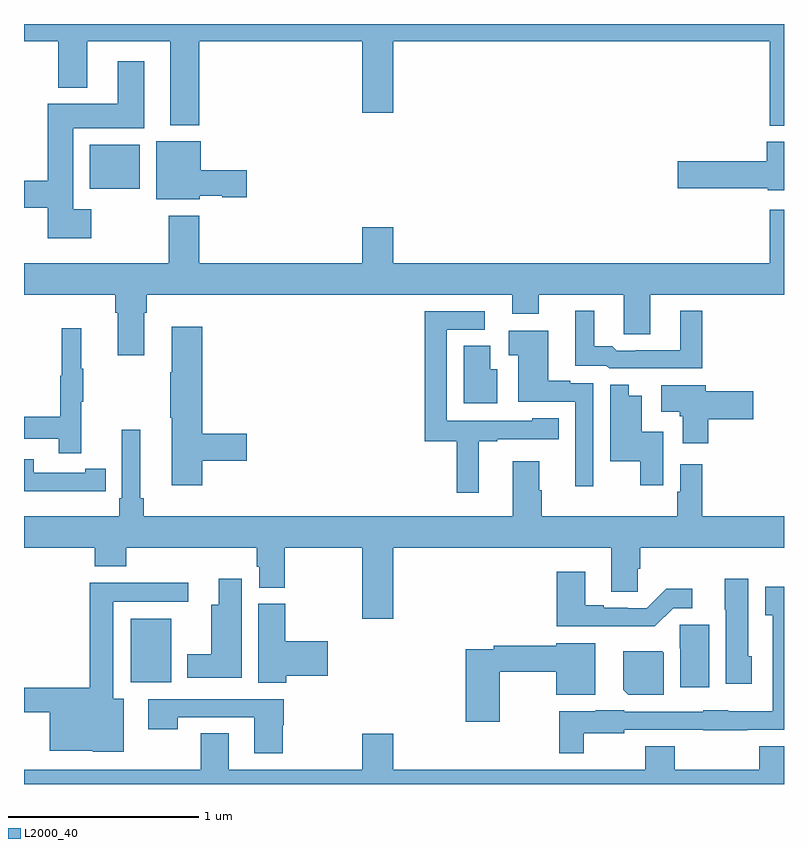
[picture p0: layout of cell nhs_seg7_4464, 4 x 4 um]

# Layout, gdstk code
import gdstk
lib = gdstk.Library(unit=1e-6, precision=1e-09)
def R(c, l, rs):  # rectangles x0, y0, x1, y1
    for r in rs: c.add(gdstk.rectangle(r[:2], r[2:], *l))
def P(c, l, *ps):  # polygons
    for p in ps: c.add(gdstk.Polygon(p, *l))
L2000_40 = (2000, 40)

nhs_seg7_4464 = lib.new_cell('nhs_seg7_4464')
R(nhs_seg7_4464, L2000_40, [(391.562,1038.536,391.774,1038.871), (391.346,1041.134,391.609,1041.364)])
P(nhs_seg7_4464, L2000_40, [(395,1042),(391,1042),(391,1041.908),(391.181,1041.908),(391.181,1041.665),(391.333,1041.665),(391.333,1041.908),(391.769,1041.908),(391.769,1041.467),(391.922,1041.467),(391.922,1041.908),(392.78,1041.908),(392.78,1041.534),(392.944,1041.534),(392.944,1041.908),(394.926,1041.908),(394.926,1041.464),(395,1041.464)],
  [(391.354,1041.025),(391.258,1041.025),(391.258,1041.452),(391.633,1041.452),(391.633,1041.805),(391.493,1041.805),(391.493,1041.58),(391.124,1041.58),(391.124,1041.176),(391,1041.176),(391,1041.034),(391.124,1041.034),(391.124,1040.873),(391.354,1040.873)],
  [(391.926,1041.095),(392.043,1041.095),(392.043,1041.088),(392.173,1041.088),(392.173,1041.23),(391.93,1041.23),(391.93,1041.382),(391.697,1041.382),(391.697,1041.077),(391.926,1041.077)],
  [(395,1041.379),(394.91,1041.379),(394.91,1041.278),(394.44,1041.278),(394.44,1041.136),(394.914,1041.136),(394.914,1041.125),(395,1041.125)],
  [(391.633,1040.48),(391.646,1040.48),(391.646,1040.576),(393.569,1040.576),(393.569,1040.474),(393.709,1040.474),(393.709,1040.576),(394.157,1040.576),(394.157,1040.368),(394.297,1040.368),(394.297,1040.576),(395,1040.576),(395,1041.022),(394.926,1041.022),(394.926,1040.74),(392.944,1040.74),(392.944,1040.929),(392.78,1040.929),(392.78,1040.74),(391.922,1040.74),(391.922,1040.992),(391.762,1040.992),(391.762,1040.74),(391,1040.74),(391,1040.576),(391.481,1040.576),(391.481,1040.48),(391.493,1040.48),(391.493,1040.256),(391.633,1040.256)],
  [(394.571,1040.491),(394.454,1040.491),(394.454,1040.283),(394.219,1040.283),(394.219,1040.28),(394.119,1040.28),(394.097,1040.303),(394,1040.303),(394,1040.491),(393.902,1040.491),(393.902,1040.202),(394.065,1040.202),(394.08,1040.187),(394.571,1040.187)],
  [(393.394,1039.803),(393.49,1039.803),(393.49,1039.815),(393.815,1039.815),(393.815,1039.924),(393.675,1039.924),(393.675,1039.911),(393.225,1039.911),(393.225,1040.391),(393.424,1040.391),(393.424,1040.487),(393.109,1040.487),(393.109,1039.803),(393.277,1039.803),(393.277,1039.533),(393.394,1039.533)],
  [(391.937,1039.702),(392.173,1039.702),(392.173,1039.844),(391.937,1039.844),(391.937,1040.407),(391.778,1040.407),(391.778,1040.168),(391.771,1040.168),(391.771,1039.927),(391.778,1039.927),(391.778,1039.572),(391.937,1039.572)],
  [(391.301,1040.011),(391.312,1040.011),(391.312,1040.185),(391.301,1040.185),(391.301,1040.398),(391.198,1040.398),(391.198,1040.148),(391.191,1040.148),(391.191,1039.934),(391,1039.934),(391,1039.818),(391.183,1039.818),(391.183,1039.74),(391.301,1039.74)],
  [(393.996,1040.109),(393.875,1040.109),(393.875,1040.122),(393.76,1040.122),(393.76,1040.386),(393.552,1040.386),(393.552,1040.257),(393.602,1040.257),(393.602,1040.013),(393.9,1040.013),(393.9,1039.566),(393.996,1039.566)],
  [(393.49,1040.182),(393.454,1040.182),(393.454,1040.306),(393.314,1040.306),(393.314,1040.003),(393.49,1040.003)],
  [(394.365,1039.855),(394.252,1039.855),(394.252,1040.044),(394.183,1040.044),(394.183,1040.102),(394.086,1040.102),(394.086,1039.7),(394.244,1039.7),(394.244,1039.572),(394.365,1039.572)],
  [(394.601,1039.919),(394.837,1039.919),(394.837,1040.066),(394.588,1040.066),(394.588,1040.098),(394.353,1040.098),(394.353,1039.958),(394.452,1039.958),(394.452,1039.935),(394.466,1039.935),(394.466,1039.794),(394.601,1039.794)],
  [(392.944,1039.244),(394.091,1039.244),(394.091,1039.012),(394.23,1039.012),(394.23,1039.134),(394.244,1039.134),(394.244,1039.244),(395,1039.244),(395,1039.408),(394.571,1039.408),(394.571,1039.684),(394.455,1039.684),(394.455,1039.538),(394.439,1039.538),(394.439,1039.408),(393.725,1039.408),(393.725,1039.545),(393.712,1039.545),(393.712,1039.699),(393.572,1039.699),(393.572,1039.408),(391.631,1039.408),(391.631,1039.504),(391.612,1039.504),(391.612,1039.864),(391.515,1039.864),(391.515,1039.504),(391.502,1039.504),(391.502,1039.408),(391,1039.408),(391,1039.244),(391.373,1039.244),(391.373,1039.145),(391.538,1039.145),(391.538,1039.244),(392.225,1039.244),(392.225,1039.143),(392.237,1039.143),(392.237,1039.033),(392.373,1039.033),(392.373,1039.244),(392.78,1039.244),(392.78,1038.87),(392.944,1038.87)],
  [(391.322,1039.542),(391.43,1039.542),(391.43,1039.658),(391.322,1039.658),(391.322,1039.638),(391.05,1039.638),(391.05,1039.71),(391,1039.71),(391,1039.541),(391.322,1039.541)],
  [(394.416,1038.924),(394.516,1038.924),(394.516,1039.027),(394.381,1039.027),(394.278,1038.924),(394.178,1038.924),(394.178,1038.927),(394.051,1038.927),(394.051,1038.94),(393.955,1038.94),(393.955,1039.117),(393.803,1039.117),(393.803,1038.83),(394.321,1038.83)],
  [(394.831,1038.672),(394.813,1038.672),(394.813,1039.081),(394.688,1039.081),(394.688,1038.918),(394.694,1038.918),(394.694,1038.528),(394.831,1038.528)],
  [(392.146,1039.081),(392.024,1039.081),(392.024,1038.943),(391.985,1038.943),(391.985,1038.682),(391.859,1038.682),(391.859,1038.56),(392.146,1038.56)],
  [(391.525,1038.448),(391.471,1038.448),(391.471,1038.96),(391.864,1038.96),(391.864,1039.058),(391.346,1039.058),(391.346,1038.506),(391,1038.506),(391,1038.378),(391.136,1038.378),(391.136,1038.176),(391.362,1038.176),(391.362,1038.17),(391.525,1038.17)],
  [(393.946,1038.266),(394.158,1038.266),(394.158,1038.285),(394.575,1038.285),(394.575,1038.284),(394.807,1038.284),(394.807,1038.285),(395,1038.285),(395,1039.039),(394.901,1039.039),(394.901,1038.887),(394.941,1038.887),(394.941,1038.382),(394.707,1038.382),(394.707,1038.388),(394.575,1038.388),(394.575,1038.381),(394.158,1038.381),(394.158,1038.388),(394.008,1038.388),(394.008,1038.382),(393.817,1038.382),(393.817,1038.161),(393.946,1038.161)],
  [(392.381,1038.569),(392.599,1038.569),(392.599,1038.752),(392.376,1038.752),(392.376,1038.948),(392.234,1038.948),(392.234,1038.532),(392.381,1038.532)],
  [(394.606,1038.837),(394.45,1038.837),(394.45,1038.714),(394.454,1038.714),(394.454,1038.51),(394.606,1038.51)],
  [(393.504,1038.592),(393.8,1038.592),(393.8,1038.47),(394.006,1038.47),(394.006,1038.742),(393.8,1038.742),(393.8,1038.728),(393.472,1038.728),(393.472,1038.708),(393.326,1038.708),(393.326,1038.327),(393.504,1038.327)],
  [(394.366,1038.692),(394.358,1038.7),(394.154,1038.7),(394.154,1038.496),(394.18,1038.47),(394.366,1038.47)],
  [(392.361,1038.309),(392.366,1038.309),(392.366,1038.447),(391.653,1038.447),(391.653,1038.288),(391.809,1038.288),(391.809,1038.351),(392.213,1038.351),(392.213,1038.162),(392.361,1038.162)],
  [(395,1038.2),(394.87,1038.2),(394.87,1038.076),(394.425,1038.076),(394.425,1038.2),(394.27,1038.2),(394.27,1038.076),(392.944,1038.076),(392.944,1038.265),(392.78,1038.265),(392.78,1038.076),(392.077,1038.076),(392.077,1038.266),(391.93,1038.266),(391.93,1038.076),(391,1038.076),(391,1038),(395,1038)])

lib.write_gds('nhs_seg7_4464.gds')
